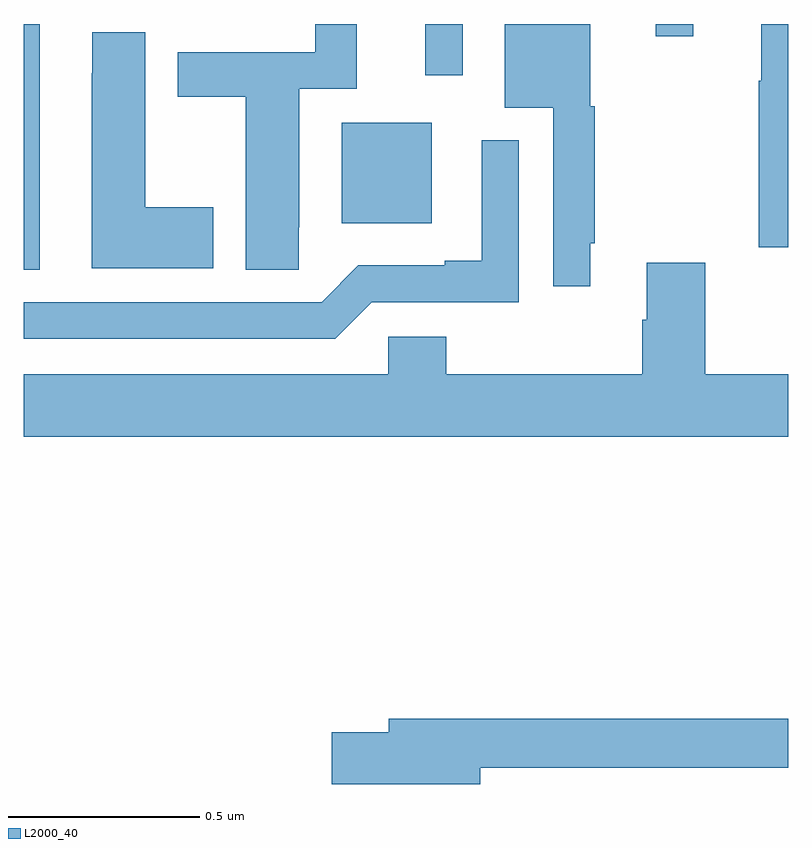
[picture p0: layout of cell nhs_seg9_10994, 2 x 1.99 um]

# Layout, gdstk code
import gdstk
lib = gdstk.Library(unit=1e-6, precision=1e-09)
def R(c, l, rs):  # rectangles x0, y0, x1, y1
    for r in rs: c.add(gdstk.rectangle(r[:2], r[2:], *l))
def P(c, l, *ps):  # polygons
    for p in ps: c.add(gdstk.Polygon(p, *l))
L2000_40 = (2000, 40)

nhs_seg9_10994 = lib.new_cell('nhs_seg9_10994')
R(nhs_seg9_10994, L2000_40, [(250,1196.857,250.042,1197.5), (250.832,1196.978,251.068,1197.241), (251.051,1197.366,251.148,1197.5), (251.653,1197.468,251.752,1197.5)])
P(nhs_seg9_10994, L2000_40, [(252,1197.5),(251.93,1197.5),(251.93,1197.352),(251.923,1197.352),(251.923,1196.916),(252,1196.916)],
  [(251.482,1196.926),(251.494,1196.926),(251.494,1197.285),(251.482,1197.285),(251.482,1197.5),(251.258,1197.5),(251.258,1197.281),(251.385,1197.281),(251.385,1196.814),(251.482,1196.814)],
  [(250.719,1196.968),(250.72,1196.968),(250.72,1197.33),(250.871,1197.33),(250.871,1197.5),(250.762,1197.5),(250.762,1197.426),(250.403,1197.426),(250.403,1197.31),(250.58,1197.31),(250.58,1196.857),(250.719,1196.857)],
  [(250.495,1197.021),(250.318,1197.021),(250.318,1197.479),(250.179,1197.479),(250.179,1197.371),(250.178,1197.371),(250.178,1196.861),(250.495,1196.861)],
  [(250.911,1196.772),(251.295,1196.772),(251.295,1197.196),(251.198,1197.196),(251.198,1196.881),(251.102,1196.881),(251.102,1196.868),(250.875,1196.868),(250.779,1196.772),(250,1196.772),(250,1196.676),(250.815,1196.676)],
  [(252,1196.584),(251.783,1196.584),(251.783,1196.875),(251.63,1196.875),(251.63,1196.726),(251.618,1196.726),(251.618,1196.584),(251.105,1196.584),(251.105,1196.682),(250.953,1196.682),(250.953,1196.584),(250,1196.584),(250,1196.42),(252,1196.42)],
  [(251.194,1195.554),(252,1195.554),(252,1195.682),(250.955,1195.682),(250.955,1195.646),(250.806,1195.646),(250.806,1195.511),(251.194,1195.511)])

lib.write_gds('nhs_seg9_10994.gds')
